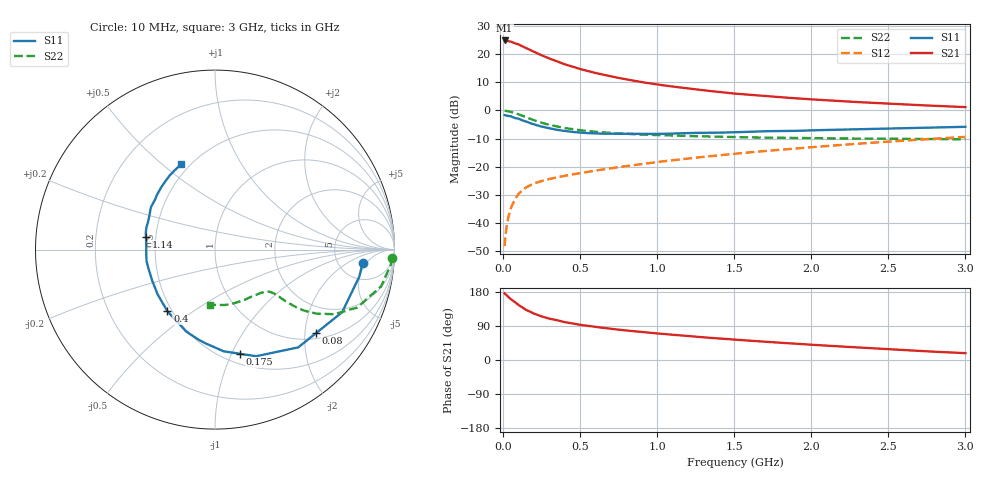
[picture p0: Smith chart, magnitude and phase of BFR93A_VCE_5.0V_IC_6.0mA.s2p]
! Infineon Technologies  Discrete & RF Semiconductors
! BFR93A
! VCE =  5.0 V,  IC =  6.0 mA
! Common Emitter S-Parameters:  Nov 2015
# GHz  S  MA  R  50
!  f  S11  S21  S12  S22
! GHz  MAG  ANG  MAG  ANG  MAG  ANG  MAG  ANG
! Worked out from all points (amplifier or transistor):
!   180 points, 10 MHz to 3 GHz, reference 50 ohm
!   highest |S21| = 24.8 dB at 10 MHz (marker M1)
!   |S21| within 3 dB of that: start of sweep to 161.6 MHz
!   unconditionally stable (mu >= 1): 711.8 MHz to 2.569 GHz
!   at 160 MHz: K = 0.38, MSG = 24.5 dB, |S12| = -27.0 dB
!   at 1.22 GHz: K = 1.10, MAG = 10.3 dB, |S12| = -16.9 dB
!   at 3 GHz: K = 0.95, MSG = 5.3 dB, |S12| = -9.4 dB
!   S11 on the Smith chart (normalised r, x): 10 MHz: 8.49, -4.06; 80 MHz: 1.14, -2.28; 175 MHz: 0.60, -1.08; 400 MHz: 0.47, -0.40; 1.14 GHz: 0.44, +0.08; 3 GHz: 0.45, +0.58
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0.01  0.8254 -5.3  17.45 175.8  0.0039 87.7  0.988 -2.6
0.02  0.8179 -10.6  17.32 171.8  0.0076 84.0  0.9823 -5.1
0.05  0.7897 -26.2  16.65 160.6  0.0183 77.4  0.9477 -12.5
0.08  0.73 -39.7  15.44 151.6  0.027 69.4  0.8891 -18.1
0.1  0.7154 -49.6  14.86 144.9  0.033 66.5  0.8552 -22.2
0.15  0.6367 -68.9  12.79 132.0  0.0431 59.4  0.7543 -28.5
0.175  0.5967 -76.5  11.86 127.6  0.0467 57.5  0.7118 -30.2
0.2  0.5687 -85.1  11.01 122.5  0.0504 55.9  0.6701 -32.2
0.24  0.5258 -95.5  9.798 116.5  0.0548 53.7  0.6173 -33.9
0.26  0.5098 -100.5  9.272 113.8  0.0569 53.1  0.5943 -34.6
0.3  0.4837 -109.4  8.336 109.1  0.0607 52.6  0.5547 -35.4
0.4  0.4338 -127.7  6.584 99.8  0.0692 52.4  0.4861 -36.2
0.52  0.401 -144.4  5.267 91.8  0.0788 53.5  0.4393 -36.3
0.6  0.3905 -153.5  4.615 87.2  0.0855 54.6  0.417 -36.5
0.7  0.3856 -162.2  4.009 82.1  0.0942 55.8  0.3983 -37.0
0.9  0.3838 -177.3  3.177 74.0  0.1118 57.5  0.3728 -38.8
1.02  0.384 175.5  2.838 69.4  0.1232 58.2  0.3636 -40.3
1.14  0.3916 169.3  2.572 65.3  0.1346 58.6  0.3547 -42.4
1.52  0.4111 152.9  1.973 53.3  0.172 58.8  0.3356 -50.0
2.02  0.445 136.4  1.56 39.8  0.2244 56.9  0.3217 -62.7
2.52  0.4776 123.5  1.309 28.2  0.2817 53.1  0.3139 -77.7
3  0.512 111.5  1.146 18.1  0.3392 48.6  0.3078 -95.2
